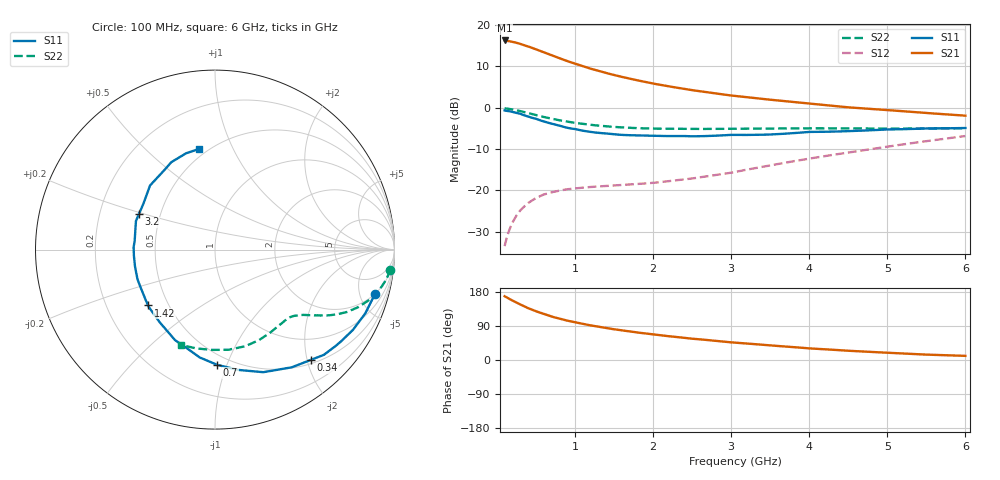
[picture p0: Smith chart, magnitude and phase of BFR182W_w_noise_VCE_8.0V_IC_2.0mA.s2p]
! Infineon Technologies  Discrete & RF Semiconductors
! BFR182W
! VCE =  8.0 V,  IC =  2.0 mA
! Common Emitter S-Parameters:  Nov 2015
# GHz  S  MA  R  50
!  f  S11  S21  S12  S22
! GHz  MAG  ANG  MAG  ANG  MAG  ANG  MAG  ANG
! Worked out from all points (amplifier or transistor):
!   192 points, 100 MHz to 6 GHz, reference 50 ohm
!   highest |S21| = 16.3 dB at 100 MHz (marker M1)
!   |S21| within 3 dB of that: start of sweep to 621.6 MHz
!   unconditionally stable (mu >= 1): 1.859 GHz to 3.189 GHz
!   at 440 MHz: K = 0.29, MSG = 18.6 dB, |S12| = -22.6 dB
!   at 1.7 GHz: K = 0.95, MSG = 12.8 dB, |S12| = -18.6 dB
!   at 6 GHz: K = 0.75, MSG = 2.5 dB, |S12| = -6.9 dB
!   lowest NFmin = 1.10 dB at 450 MHz
!   S11 on the Smith chart (normalised r, x): 100 MHz: 1.99, -6.82; 340 MHz: 0.57, -2.07; 700 MHz: 0.42, -0.93; 1.42 GHz: 0.39, -0.31; 3.2 GHz: 0.38, +0.19; 6 GHz: 0.45, +0.74
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0.1  0.9254 -15.4  6.5 168.3  0.0211 80.8  0.9833 -6.5
0.16  0.9045 -24.4  6.366 161.3  0.033 76.1  0.9665 -10.2
0.24  0.8692 -35.9  6.137 152.7  0.0475 70.0  0.9353 -14.6
0.3  0.8438 -44.0  5.909 146.6  0.0571 66.0  0.9091 -17.7
0.34  0.8145 -48.9  5.731 142.9  0.0622 63.2  0.8892 -19.3
0.4  0.7829 -56.9  5.513 136.9  0.0701 59.8  0.8608 -21.8
0.5  0.7341 -68.5  5.09 128.7  0.0805 54.7  0.8149 -25.2
0.6  0.6823 -79.2  4.69 121.4  0.0889 50.9  0.7721 -27.8
0.7  0.6423 -88.9  4.305 114.7  0.0946 48.1  0.736 -29.8
0.8  0.6072 -98.0  3.977 109.0  0.0992 46.0  0.7037 -31.5
0.9  0.5711 -106.0  3.663 104.0  0.1029 44.2  0.6773 -32.7
1.1  0.5265 -120.2  3.183 95.6  0.1077 42.5  0.6368 -35.0
1.2  0.509 -127.2  2.965 91.3  0.1099 42.0  0.6191 -36.0
1.42  0.4857 -140.2  2.596 83.7  0.1129 42.3  0.5923 -38.0
1.8  0.4625 -158.9  2.141 72.6  0.1191 45.7  0.5647 -41.5
2.08  0.454 -170.6  1.897 65.6  0.1253 49.4  0.5563 -44.6
2.5  0.45 174.5  1.629 56.2  0.139 55.2  0.5529 -49.2
3.1  0.4676 157.6  1.37 45.1  0.1704 62.2  0.5555 -57.8
3.2  0.4677 155.1  1.338 43.5  0.1777 63.0  0.5562 -59.4
4.1  0.5093 133.3  1.098 29.5  0.2503 65.6  0.5627 -74.6
5.1  0.5464 114.5  0.92 18.2  0.3483 62.2  0.5582 -93.4
6  0.5672 99.3  0.8 10.9  0.4533 55.8  0.5639 -109.6
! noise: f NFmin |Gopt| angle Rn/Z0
0.45  1.1  0.42  29  0.36
0.9  1.2  0.4  58  0.3
1.8  1.85  0.32  126  0.22
